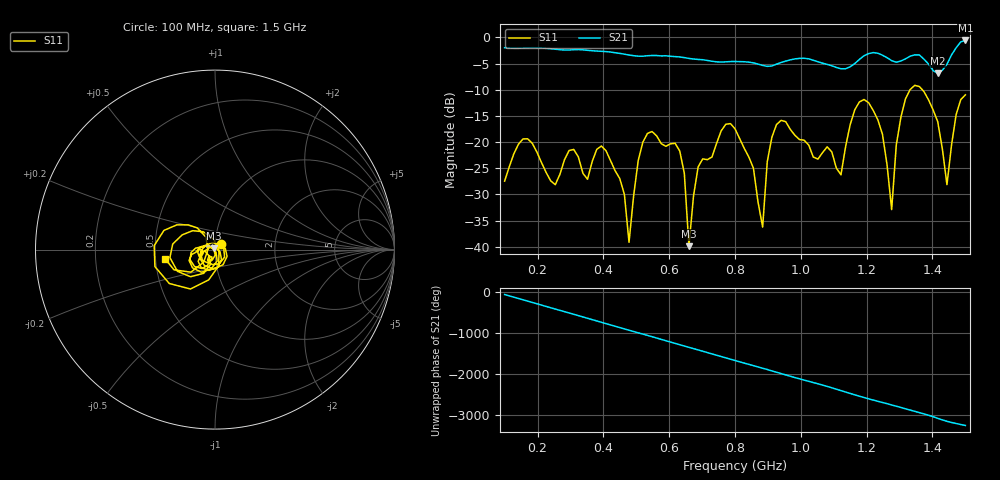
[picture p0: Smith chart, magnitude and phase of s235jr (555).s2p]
! NanoVNA-App
! Date: 2025-09-25 15:08:29
! Start: 100MHz Stop: 1,5GHz Points: 101
! S-Parameter data: F S11 S21 S12 S22
# Hz S RI R 50
!  Frequency  S11_Real  S11_Imag  S21_Real  S21_Imag  S12_Real  S12_Imag  S22_Real  S22_Imag
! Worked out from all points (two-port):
!   101 points, 100 MHz to 1.5 GHz, reference 50 ohm
!   highest |S21| = -0.59 dB at 1.5 GHz (marker M1); lowest = -6.9 dB at 1.416 GHz (marker M2)
!   |S21| within 3 dB of the highest: start of sweep to 506.4 MHz; 521.9 MHz to 600.3 MHz (78.35 MHz wide, 14 % of centre) (the widest 2 of 5)
!   lowest |S11| = -39.9 dB at 660 MHz (marker M3), VSWR 1.02, Z = 49.2 + j0.64 ohm
!   |S11| at or under -10 dB: start of sweep to 1.332 GHz; 1.369 GHz to end of sweep
!   S12 and S22 are empty: the file has one direction only
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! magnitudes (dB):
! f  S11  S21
! 100 MHz  -27.5  -2.0
! 156 MHz  -19.4  -2.0
! 338 MHz  -26.0  -2.4
! 408 MHz  -21.7  -2.7
! 478 MHz  -39.2  -3.4
! 520 MHz  -20.0  -3.6
! 576 MHz  -20.3  -3.5
! 632 MHz  -21.7  -3.7
! 660 MHz  -39.9  -4.0
! 688 MHz  -24.7  -4.2
! 800 MHz  -17.5  -4.6
! 884 MHz  -36.2  -5.4
! 926 MHz  -16.7  -5.1
! 1.038 GHz  -22.9  -4.4
! 1.122 GHz  -26.3  -6.0
! 1.192 GHz  -11.9  -3.5
! 1.248 GHz  -18.5  -3.4
! 1.276 GHz  -32.9  -4.4
! 1.332 GHz  -10.0  -3.6
! 1.416 GHz  -16.1  -6.9
! 1.444 GHz  -28.1  -5.1
! 1.5 GHz  -11.0  -0.6
